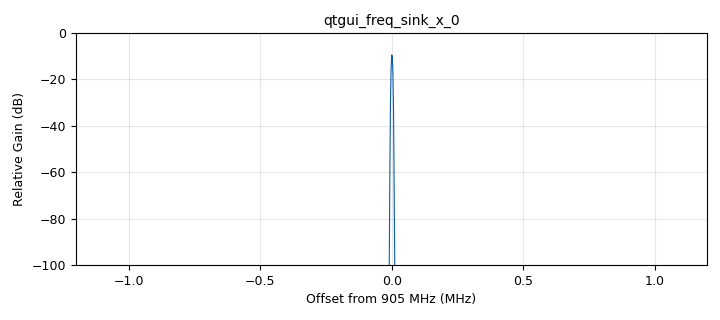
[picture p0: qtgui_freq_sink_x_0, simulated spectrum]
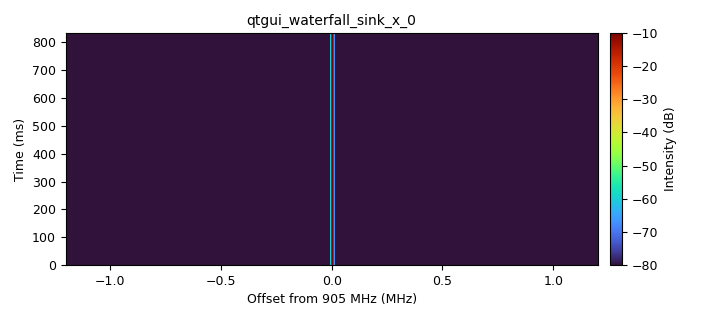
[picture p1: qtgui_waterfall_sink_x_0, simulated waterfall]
options:
  parameters:
    generate_options: qt_gui
    id: soapy_xmit
    output_language: python
    title: Soapy Test Transmit
  states: {}

blocks:
- name: freq
  id: variable
  parameters:
    value: 905e6
  states: {}
- name: gain
  id: variable_qtgui_range
  parameters:
    gui_hint: 0,0,1,1
    orient: Qt.Horizontal
    start: '0'
    step: '2'
    stop: '80'
    value: '40'
  states: {}
- name: samp_rate
  id: variable
  parameters:
    value: 600e3
  states: {}
- name: xmit_rate
  id: variable
  parameters:
    value: 2.4e6
  states: {}
- name: analog_sig_source_x_0
  id: analog_sig_source_x
  parameters:
    amp: '1'
    freq: '1000'
    offset: '0'
    phase: '0'
    samp_rate: samp_rate
    type: complex
    waveform: analog.GR_COS_WAVE
  states: {}
- name: pfb_arb_resampler_xxx_0
  id: pfb_arb_resampler_xxx
  parameters:
    atten: '100'
    nfilts: '32'
    rrate: xmit_rate / samp_rate
    type: ccf
  states: {}
- name: qtgui_freq_sink_x_0
  id: qtgui_freq_sink_x
  parameters:
    bw: xmit_rate
    fc: freq
    fftsize: '1024'
    gui_hint: 1,0,1,2
    type: complex
    wintype: firdes.WIN_BLACKMAN_hARRIS
    ymax: '0'
    ymin: '-100'
  states: {}
- name: qtgui_waterfall_sink_x_0
  id: qtgui_waterfall_sink_x
  parameters:
    bw: xmit_rate
    fc: freq
    fftsize: '1024'
    gui_hint: 2,0,1,2
    int_max: '-10'
    int_min: '-80'
    type: complex
    wintype: firdes.WIN_BLACKMAN_hARRIS
  states: {}
- name: soapy_sink_0
  id: soapy_sink
  parameters:
    ant0: TX/RX
    ant1: ''
    center_freq0: freq
    devname: uhd
    pga_gain0: gain
    samp_rate: xmit_rate
    type: fc32
  states: {}

connections:
- [analog_sig_source_x_0, '0', pfb_arb_resampler_xxx_0, '0']
- [pfb_arb_resampler_xxx_0, '0', qtgui_freq_sink_x_0, '0']
- [pfb_arb_resampler_xxx_0, '0', qtgui_waterfall_sink_x_0, '0']
- [pfb_arb_resampler_xxx_0, '0', soapy_sink_0, '0']

metadata:
  file_format: 1
